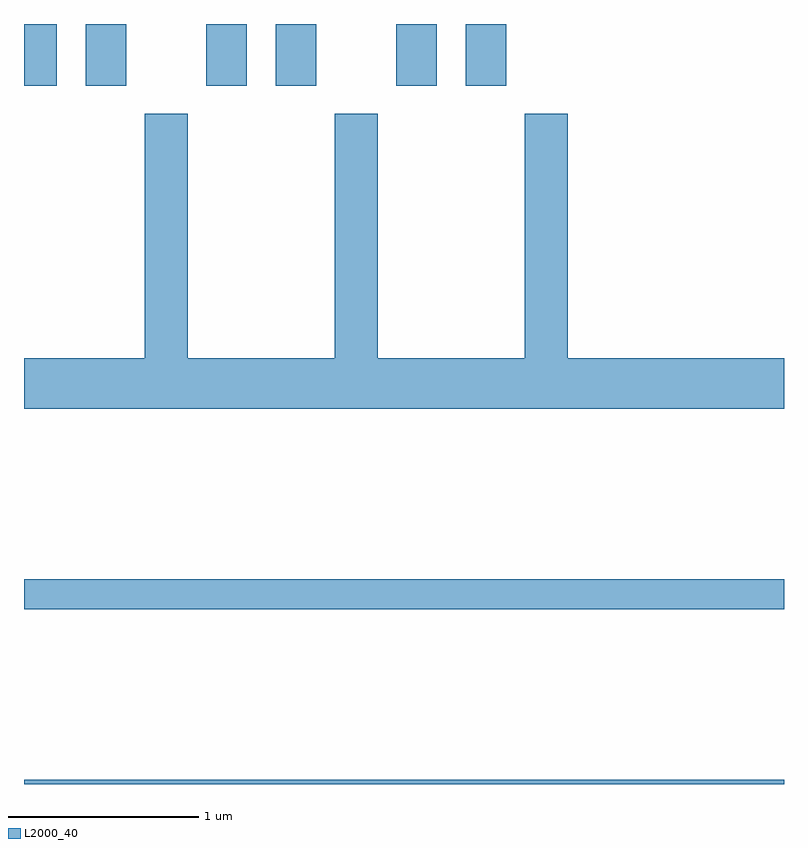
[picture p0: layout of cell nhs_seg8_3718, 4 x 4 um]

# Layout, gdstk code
import gdstk
lib = gdstk.Library(unit=1e-6, precision=1e-09)
def R(c, l, rs):  # rectangles x0, y0, x1, y1
    for r in rs: c.add(gdstk.rectangle(r[:2], r[2:], *l))
def P(c, l, *ps):  # polygons
    for p in ps: c.add(gdstk.Polygon(p, *l))
L2000_40 = (2000, 40)

nhs_seg8_3718 = lib.new_cell('nhs_seg8_3718')
R(nhs_seg8_3718, L2000_40, [(295.611,1934.342,299.611,1934.364), (295.611,1935.261,299.611,1935.419), (295.611,1938.016,295.784,1938.342), (295.936,1938.016,296.149,1938.342), (296.571,1938.016,296.784,1938.342), (296.936,1938.016,297.149,1938.342), (297.571,1938.016,297.784,1938.342), (297.936,1938.016,298.149,1938.342)])
P(nhs_seg8_3718, L2000_40, [(299.611,1936.584),(298.474,1936.584),(298.474,1937.869),(298.246,1937.869),(298.246,1936.584),(297.474,1936.584),(297.474,1937.869),(297.246,1937.869),(297.246,1936.584),(296.474,1936.584),(296.474,1937.869),(296.246,1937.869),(296.246,1936.584),(295.611,1936.584),(295.611,1936.316),(299.611,1936.316)])

lib.write_gds('nhs_seg8_3718.gds')
